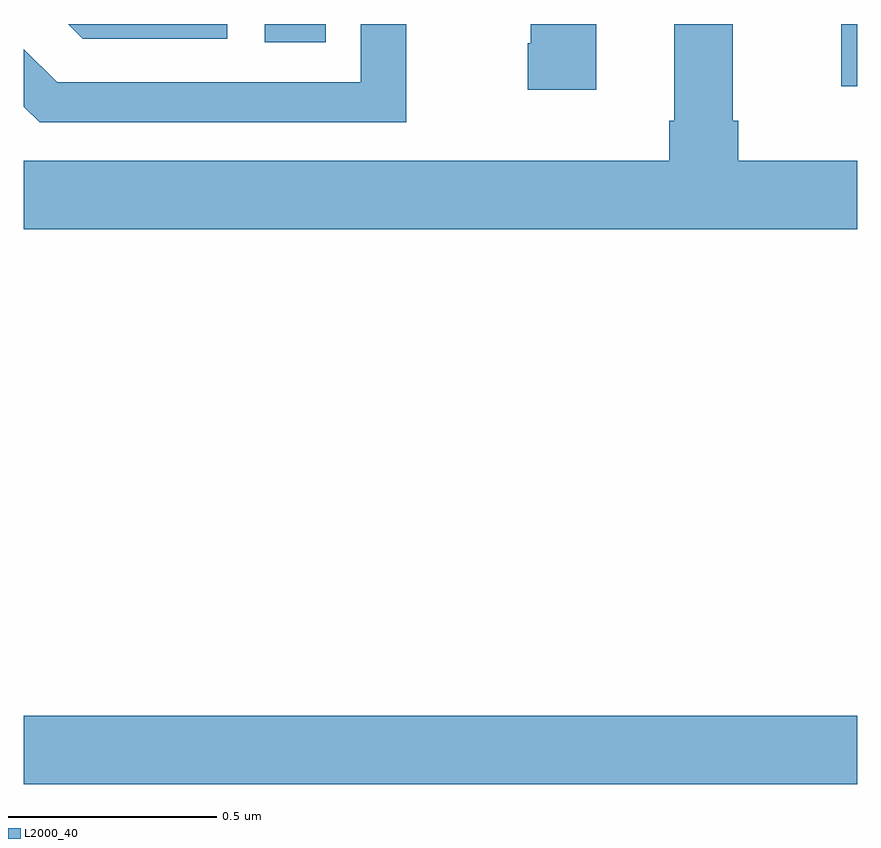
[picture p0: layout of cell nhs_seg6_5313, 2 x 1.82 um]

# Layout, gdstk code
import gdstk
lib = gdstk.Library(unit=1e-6, precision=1e-09)
def R(c, l, rs):  # rectangles x0, y0, x1, y1
    for r in rs: c.add(gdstk.rectangle(r[:2], r[2:], *l))
def P(c, l, *ps):  # polygons
    for p in ps: c.add(gdstk.Polygon(p, *l))
L2000_40 = (2000, 40)

nhs_seg6_5313 = lib.new_cell('nhs_seg6_5313')
R(nhs_seg6_5313, L2000_40, [(181,940.676,183,940.84), (182.962,942.351,183,942.5), (181.578,942.456,181.724,942.5)])
P(nhs_seg6_5313, L2000_40, [(183,942.172),(182.714,942.172),(182.714,942.268),(182.701,942.268),(182.701,942.5),(182.561,942.5),(182.561,942.268),(182.549,942.268),(182.549,942.172),(181,942.172),(181,942.008),(183,942.008)],
  [(181.488,942.5),(181.107,942.5),(181.142,942.465),(181.488,942.465)],
  [(181.918,942.5),(181.809,942.5),(181.809,942.36),(181.08,942.36),(181,942.44),(181,942.302),(181.038,942.264),(181.918,942.264)],
  [(182.374,942.5),(182.216,942.5),(182.216,942.454),(182.209,942.454),(182.209,942.342),(182.374,942.342)])

lib.write_gds('nhs_seg6_5313.gds')
